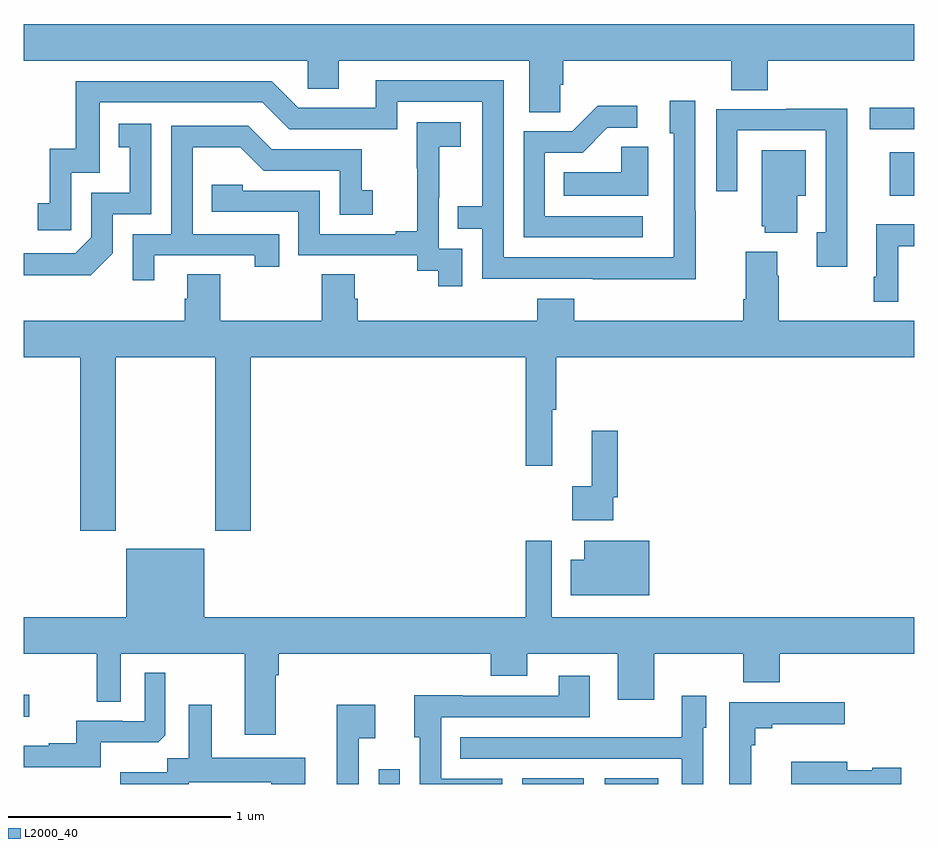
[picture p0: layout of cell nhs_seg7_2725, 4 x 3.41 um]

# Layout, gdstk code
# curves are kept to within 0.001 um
import gdstk
lib = gdstk.Library(unit=1e-6, precision=1e-09)
def R(c, l, rs):  # rectangles x0, y0, x1, y1
    for r in rs: c.add(gdstk.rectangle(r[:2], r[2:], *l))
def P(c, l, *ps):  # polygons
    for p in ps: c.add(gdstk.Polygon(p, *l))
L2000_40 = (2000, 40)

nhs_seg7_2725 = lib.new_cell('nhs_seg7_2725')
R(nhs_seg7_2725, L2000_40, [(288.594,1032,288.69,1032.067), (289.238,1032,289.516,1032.025), (289.61,1032,289.849,1032.025), (287,1032.302,287.026,1032.401), (290.888,1034.642,291,1034.836), (290.799,1034.94,291,1035.036)])
P(nhs_seg7_2725, L2000_40, [(289.41,1035.139),(289.424,1035.139),(289.424,1035.248),(290.177,1035.248),(290.177,1035.115),(290.342,1035.115),(290.342,1035.248),(291,1035.248),(291,1035.412),(287,1035.412),(287,1035.248),(288.276,1035.248),(288.276,1035.121),(288.415,1035.121),(288.415,1035.248),(289.271,1035.248),(289.271,1035.016),(289.41,1035.016)],
  [(290.019,1034.573),(290.016,1034.573),(290.016,1035.067),(289.901,1035.067),(289.901,1034.922),(289.92,1034.922),(289.92,1034.364),(289.155,1034.364),(289.155,1035.159),(288.581,1035.159),(288.581,1035.036),(288.234,1035.036),(288.114,1035.156),(287.235,1035.156),(287.235,1034.853),(287.117,1034.853),(287.117,1034.607),(287.064,1034.607),(287.064,1034.487),(287.214,1034.487),(287.214,1034.745),(287.343,1034.745),(287.343,1035.06),(288.072,1035.06),(288.192,1034.94),(288.678,1034.94),(288.678,1035.063),(289.059,1035.063),(289.059,1034.594),(288.949,1034.594),(288.949,1034.493),(289.059,1034.493),(289.059,1034.268),(290.019,1034.267)],
  [(289.78,1034.55),(289.341,1034.55),(289.341,1034.835),(289.51,1034.835),(289.621,1034.946),(289.756,1034.946),(289.756,1035.044),(289.577,1035.044),(289.464,1034.931),(289.245,1034.931),(289.245,1034.454),(289.78,1034.454)],
  [(290.699,1035.032),(290.425,1035.032),(290.425,1035.03),(290.109,1035.03),(290.109,1034.661),(290.205,1034.661),(290.205,1034.934),(290.601,1034.934),(290.601,1034.478),(290.561,1034.478),(290.561,1034.322),(290.699,1034.322)],
  [(288.969,1034.403),(288.864,1034.403),(288.864,1034.632),(288.866,1034.632),(288.866,1034.861),(288.964,1034.861),(288.964,1034.971),(288.766,1034.971),(288.766,1034.765),(288.767,1034.765),(288.767,1034.482),(288.671,1034.482),(288.671,1034.469),(288.33,1034.469),(288.33,1034.664),(287.985,1034.664),(287.985,1034.691),(287.845,1034.691),(287.845,1034.568),(288.234,1034.568),(288.234,1034.373),(288.768,1034.373),(288.768,1034.305),(288.861,1034.305),(288.861,1034.235),(288.969,1034.235)],
  [(287.4,1034.382),(287.4,1034.559),(287.574,1034.559),(287.574,1034.965),(287.428,1034.965),(287.428,1034.859),(287.477,1034.859),(287.477,1034.655),(287.304,1034.655),(287.304,1034.454),(287.232,1034.382),(287,1034.382),(287,1034.285),(287.302,1034.285)],
  [(287.587,1034.373),(288.038,1034.373),(288.038,1034.322),(288.149,1034.322),(288.149,1034.469),(287.76,1034.469),(287.76,1034.858),(287.974,1034.858),(288.078,1034.754),(288.42,1034.754),(288.42,1034.555),(288.568,1034.555),(288.568,1034.665),(288.519,1034.665),(288.519,1034.85),(288.115,1034.85),(288.01,1034.955),(287.664,1034.955),(287.664,1034.469),(287.49,1034.469),(287.49,1034.262),(287.587,1034.262)],
  [(289.804,1034.861),(289.683,1034.861),(289.683,1034.746),(289.426,1034.746),(289.426,1034.642),(289.804,1034.642)],
  [(290.473,1034.642),(290.512,1034.642),(290.512,1034.845),(290.315,1034.845),(290.315,1034.505),(290.327,1034.505),(290.327,1034.474),(290.473,1034.474)],
  [(290.926,1034.415),(291,1034.415),(291,1034.512),(290.828,1034.512),(290.828,1034.278),(290.817,1034.278),(290.817,1034.166),(290.926,1034.166)],
  [(287.415,1033.916),(287.86,1033.916),(287.86,1033.137),(288.02,1033.137),(288.02,1033.916),(289.255,1033.916),(289.255,1033.428),(289.373,1033.428),(289.373,1033.68),(289.391,1033.68),(289.391,1033.916),(291,1033.916),(291,1034.08),(290.391,1034.08),(290.391,1034.282),(290.383,1034.282),(290.383,1034.389),(290.243,1034.389),(290.243,1034.176),(290.231,1034.176),(290.231,1034.08),(289.472,1034.08),(289.472,1034.179),(289.307,1034.179),(289.307,1034.08),(288.5,1034.08),(288.5,1034.178),(288.487,1034.178),(288.487,1034.288),(288.34,1034.288),(288.34,1034.08),(287.883,1034.08),(287.883,1034.288),(287.735,1034.288),(287.735,1034.178),(287.723,1034.178),(287.723,1034.08),(287,1034.08),(287,1033.916),(287.255,1033.916),(287.255,1033.137),(287.415,1033.137)],
  [(289.647,1033.288),(289.667,1033.288),(289.667,1033.585),(289.55,1033.585),(289.55,1033.337),(289.464,1033.337),(289.464,1033.184),(289.647,1033.184)],
  [(289.81,1033.093),(289.517,1033.093),(289.517,1033.006),(289.456,1033.006),(289.456,1032.848),(289.81,1032.848)],
  [(288.133,1032.488),(288.146,1032.488),(288.146,1032.584),(289.097,1032.584),(289.097,1032.485),(289.261,1032.485),(289.261,1032.584),(289.667,1032.584),(289.667,1032.378),(289.831,1032.378),(289.831,1032.584),(290.231,1032.584),(290.231,1032.456),(290.395,1032.456),(290.395,1032.584),(291,1032.584),(291,1032.748),(289.371,1032.748),(289.371,1033.093),(289.255,1033.093),(289.255,1032.748),(287.812,1032.748),(287.812,1033.057),(287.462,1033.057),(287.462,1032.748),(287,1032.748),(287,1032.584),(287.328,1032.584),(287.328,1032.37),(287.436,1032.37),(287.436,1032.584),(287.993,1032.584),(287.993,1032.222),(288.133,1032.222)],
  [(287.347,1032.188),(287.605,1032.188),(287.637,1032.219),(287.637,1032.499),(287.544,1032.499),(287.544,1032.282),(287.444,1032.282),(287.444,1032.285),(287.237,1032.285),(287.237,1032.184),(287.113,1032.184),(287.113,1032.172),(287,1032.172),(287,1032.075),(287.347,1032.075)],
  [(289.149,1032.024),(288.876,1032.024),(288.876,1032.3),(289.543,1032.3),(289.543,1032.487),(289.403,1032.487),(289.403,1032.396),(288.973,1032.396),(288.973,1032.398),(288.755,1032.398),(288.755,1032.21),(288.78,1032.21),(288.78,1032),(289.149,1032)],
  [(290.052,1032.252),(290.065,1032.252),(290.065,1032.397),(289.956,1032.397),(289.956,1032.211),(289.639,1032.211),(289.639,1032.21),(288.961,1032.21),(288.961,1032.114),(289.956,1032.114),(289.956,1032),(290.052,1032)],
  [(290.267,1032.173),(290.285,1032.173),(290.285,1032.25),(290.362,1032.25),(290.362,1032.269),(290.686,1032.269),(290.686,1032.366),(290.169,1032.366),(290.169,1032),(290.267,1032)],
  [(288.504,1032.206),(288.58,1032.206),(288.58,1032.355),(288.407,1032.355),(288.407,1032),(288.504,1032)],
  [(287.742,1032.008),(288.113,1032.008),(288.113,1032),(288.265,1032),(288.265,1032.118),(287.845,1032.118),(287.845,1032.355),(287.741,1032.355),(287.741,1032.116),(287.646,1032.116),(287.646,1032.052),(287.435,1032.052),(287.435,1032),(287.742,1032)],
  [(290.941,1032.074),(290.811,1032.074),(290.811,1032.061),(290.698,1032.061),(290.698,1032.1),(290.447,1032.1),(290.447,1032),(290.941,1032)])

lib.write_gds('nhs_seg7_2725.gds')
